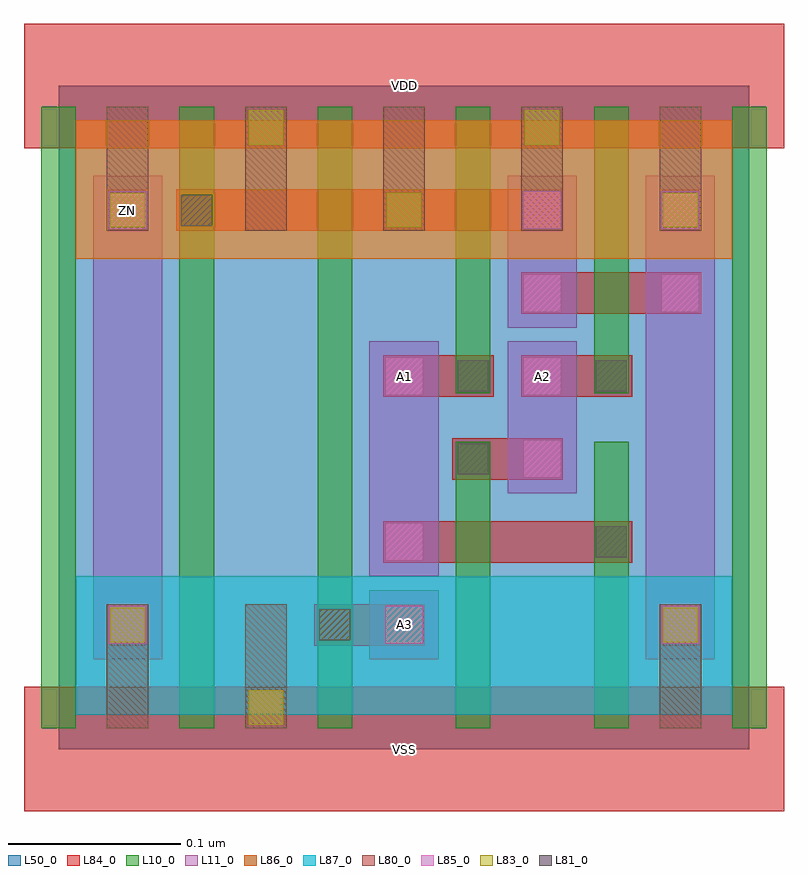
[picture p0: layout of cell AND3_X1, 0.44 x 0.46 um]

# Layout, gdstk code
import gdstk
lib = gdstk.Library(unit=1e-6, precision=1e-09)
def R(c, l, rs):  # rectangles x0, y0, x1, y1
    for r in rs: c.add(gdstk.rectangle(r[:2], r[2:], *l))
def A(c, l, x, y, w, h, nx, ny, dx, dy):  # array of equal rectangles
    R(c, l, [(x+i*dx, y+j*dy, x+i*dx+w, y+j*dy+h) for i in range(nx) for j in range(ny)])
L10_0 = (10, 0)
L11_0 = (11, 0)
L50_0 = (50, 0)
L80_0 = (80, 0)
L81_0 = (81, 0)
L83_0 = (83, 0)
L84_0 = (84, 0)
L85_0 = (85, 0)
L86_0 = (86, 0)
L87_0 = (87, 0)

and3_x1 = lib.new_cell('AND3_X1')
A(and3_x1, L10_0, -0.01, 0.012, 0.02, 0.36, 3, 1, 0.08, 0)
R(and3_x1, L10_0, [(0.23,0.012,0.25,0.178), (0.31,0.012,0.33,0.178), (0.39,0.012,0.41,0.372), (0.23,0.206,0.25,0.372), (0.31,0.206,0.33,0.372)])
R(and3_x1, L11_0, [(0.02,0.052,0.06,0.332), (0.18,0.052,0.22,0.092), (0.34,0.052,0.38,0.332), (0.18,0.1,0.22,0.236), (0.26,0.148,0.3,0.236), (0.26,0.244,0.3,0.332)])
R(and3_x1, L50_0, [(0,0,0.4,0.384)])
A(and3_x1, L80_0, 0.028, 0.3, 0.024, 0.072, 5, 1, 0.08, 0)
R(and3_x1, L80_0, [(0.028,0.012,0.052,0.084), (0.108,0.012,0.132,0.084), (0.348,0.012,0.372,0.084)])
R(and3_x1, L81_0, [(0.151,0.063,0.169,0.081), (0.311,0.111,0.329,0.129), (0.231,0.159,0.249,0.177), (0.231,0.207,0.249,0.225), (0.311,0.207,0.329,0.225), (0.071,0.303,0.089,0.321)])
A(and3_x1, L83_0, 0.03, 0.302, 0.02, 0.02, 3, 1, 0.16, 0)
R(and3_x1, L83_0, [(0.11,0.014,0.13,0.034), (0.03,0.062,0.05,0.082), (0.35,0.062,0.37,0.082), (0.11,0.35,0.13,0.37), (0.27,0.35,0.29,0.37)])
R(and3_x1, L84_0, [(-0.02,-0.036,0.42,0.036), (0.028,0.06,0.052,0.084), (0.148,0.06,0.212,0.084), (0.348,0.06,0.372,0.084), (0.188,0.108,0.332,0.132), (0.228,0.156,0.292,0.18), (0.188,0.204,0.252,0.228), (0.268,0.204,0.332,0.228), (0.268,0.252,0.372,0.276), (0.028,0.3,0.052,0.324), (0.068,0.3,0.292,0.324), (0.348,0.3,0.372,0.324), (-0.02,0.348,0.42,0.42)])
A(and3_x1, L85_0, 0.029, 0.061, 0.022, 0.022, 3, 1, 0.16, 0)
A(and3_x1, L85_0, 0.269, 0.157, 0.022, 0.022, 1, 4, 0, 0.048)
R(and3_x1, L85_0, [(0.189,0.109,0.211,0.131), (0.189,0.205,0.211,0.227), (0.349,0.253,0.371,0.275), (0.029,0.301,0.051,0.323), (0.349,0.301,0.371,0.323)])
R(and3_x1, L86_0, [(0.01,0.284,0.39,0.364)])
R(and3_x1, L87_0, [(0.01,0.02,0.39,0.1)])
and3_x1.add(gdstk.Label('VDD', (0.2,0.384), layer=88, texttype=0))
and3_x1.add(gdstk.Label('VSS', (0.2,0), layer=88, texttype=0))
and3_x1.add(gdstk.Label('ZN', (0.04,0.312), layer=31, texttype=0))
and3_x1.add(gdstk.Label('A2', (0.28,0.216), layer=31, texttype=0))
and3_x1.add(gdstk.Label('A1', (0.2,0.216), layer=31, texttype=0))
and3_x1.add(gdstk.Label('A3', (0.2,0.072), layer=31, texttype=0))

lib.write_gds('AND3_X1.gds')
